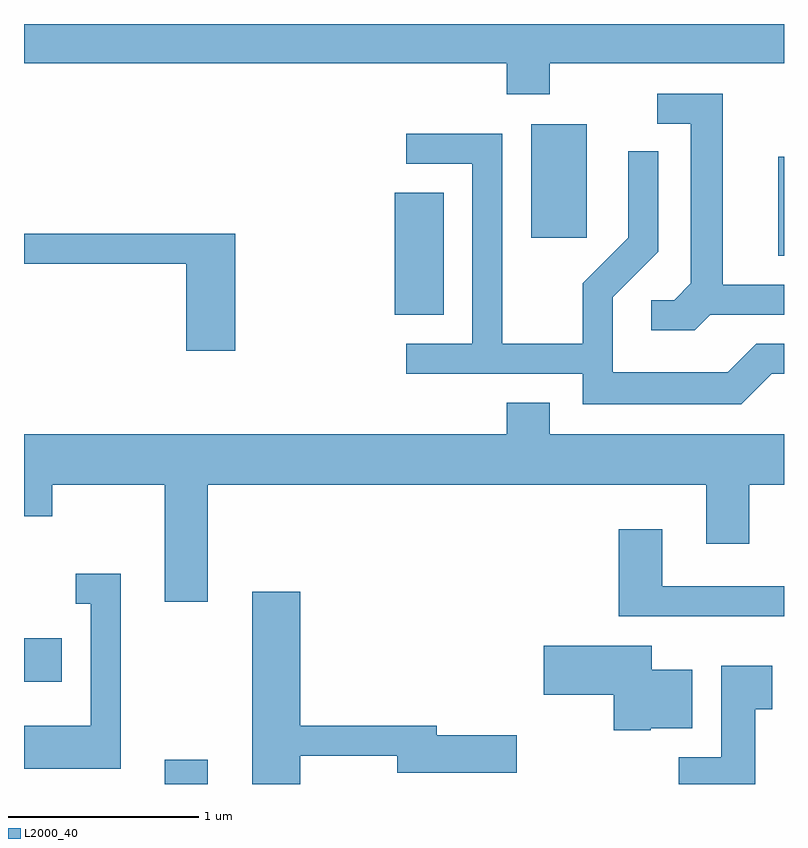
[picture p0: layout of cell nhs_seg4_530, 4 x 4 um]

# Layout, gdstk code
import gdstk
lib = gdstk.Library(unit=1e-6, precision=1e-09)
def R(c, l, rs):  # rectangles x0, y0, x1, y1
    for r in rs: c.add(gdstk.rectangle(r[:2], r[2:], *l))
def P(c, l, *ps):  # polygons
    for p in ps: c.add(gdstk.Polygon(p, *l))
L2000_40 = (2000, 40)

nhs_seg4_530 = lib.new_cell('nhs_seg4_530')
R(nhs_seg4_530, L2000_40, [(200.351,1361.982,200.579,1362.109), (199.611,1362.521,199.809,1362.749), (201.561,1364.451,201.819,1365.094), (203.581,1364.761,203.611,1365.284), (202.281,1364.856,202.574,1365.454)])
P(nhs_seg4_530, L2000_40, [(202.379,1365.776),(203.611,1365.776),(203.611,1365.982),(199.611,1365.982),(199.611,1365.776),(202.151,1365.776),(202.151,1365.611),(202.379,1365.611)],
  [(203.222,1364.451),(203.611,1364.451),(203.611,1364.609),(203.289,1364.609),(203.289,1365.614),(202.943,1365.614),(202.943,1365.456),(203.121,1365.456),(203.121,1364.617),(203.034,1364.529),(202.913,1364.529),(202.913,1364.371),(203.142,1364.371)],
  [(203.547,1364.141),(203.611,1364.141),(203.611,1364.299),(203.464,1364.299),(203.314,1364.149),(202.709,1364.149),(202.709,1364.544),(202.949,1364.784),(202.949,1365.313),(202.791,1365.313),(202.791,1364.857),(202.551,1364.617),(202.551,1364.299),(202.129,1364.299),(202.129,1365.404),(201.623,1365.404),(201.623,1365.246),(201.971,1365.246),(201.971,1364.299),(201.623,1364.299),(201.623,1364.141),(202.551,1364.141),(202.551,1363.981),(203.387,1363.981)],
  [(200.724,1364.879),(199.611,1364.879),(199.611,1364.721),(200.466,1364.721),(200.466,1364.261),(200.724,1364.261)],
  [(200.579,1363.556),(203.201,1363.556),(203.201,1363.246),(203.429,1363.246),(203.429,1363.556),(203.611,1363.556),(203.611,1363.824),(202.379,1363.824),(202.379,1363.989),(202.151,1363.989),(202.151,1363.824),(199.611,1363.824),(199.611,1363.391),(199.759,1363.391),(199.759,1363.556),(200.351,1363.556),(200.351,1362.941),(200.579,1362.941)],
  [(203.611,1363.024),(202.969,1363.024),(202.969,1363.324),(202.741,1363.324),(202.741,1362.866),(203.611,1362.866)],
  [(200.119,1363.089),(199.883,1363.089),(199.883,1362.931),(199.961,1362.931),(199.961,1362.289),(199.611,1362.289),(199.611,1362.061),(200.119,1362.061)],
  [(201.064,1362.131),(201.576,1362.131),(201.576,1362.041),(202.204,1362.041),(202.204,1362.239),(201.784,1362.239),(201.784,1362.289),(201.064,1362.289),(201.064,1362.994),(200.811,1362.994),(200.811,1361.982),(201.064,1361.982)],
  [(202.91,1362.276),(203.129,1362.276),(203.129,1362.584),(202.914,1362.584),(202.914,1362.709),(202.346,1362.709),(202.346,1362.451),(202.716,1362.451),(202.716,1362.266),(202.91,1362.266)],
  [(203.459,1362.376),(203.549,1362.376),(203.549,1362.604),(203.281,1362.604),(203.281,1362.124),(203.056,1362.124),(203.056,1361.982),(203.459,1361.982)])

lib.write_gds('nhs_seg4_530.gds')
